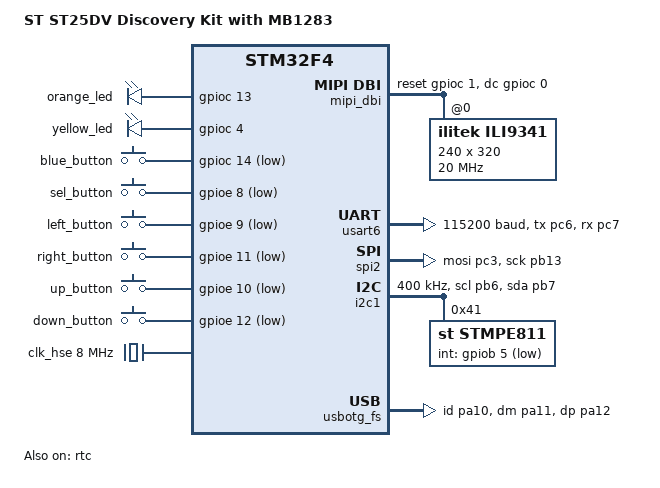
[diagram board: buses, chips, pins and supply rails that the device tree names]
/*
 * Copyright (c) 2024 Eve Redero
 *
 * SPDX-License-Identifier: Apache-2.0
 */

/dts-v1/;
#include "st/f4/stm32f405Xg.dtsi"
#include "st/f4/stm32f405vgtx-pinctrl.dtsi"
#include <zephyr/dt-bindings/input/input-event-codes.h>
#include <zephyr/dt-bindings/display/ili9xxx.h>

/ {
	model = "ST ST25DV Discovery Kit with MB1283";
	compatible = "st,st25dv_mb1283_disco", "st,stm32f405", "st,stm32f4";

	chosen {
		zephyr,console = &usart6;
		zephyr,shell-uart = &usart6;
		zephyr,sram = &sram0;
		zephyr,flash = &flash0;
		zephyr,display = &ili9341;
		zephyr,touch = &stmpe811;
	};

	leds {
		compatible = "gpio-leds";

		orange_led: led_1 {
			gpios = <&gpioc 13 GPIO_ACTIVE_HIGH>;
		};

		yellow_led: led_2 {
			gpios = <&gpioc 4 GPIO_ACTIVE_HIGH>;
		};
	};

	buttons: gpio_keys {
		compatible = "gpio-keys";

		blue_button: button_1 {
			gpios = <&gpioc 14 GPIO_ACTIVE_LOW>;
			zephyr,code = <INPUT_KEY_0>;
		};

		sel_button: button_2 {
			gpios = <&gpioe 8 GPIO_ACTIVE_LOW>;
			zephyr,code = <INPUT_KEY_ENTER>;
		};

		left_button: button_3 {
			gpios = <&gpioe 9 GPIO_ACTIVE_LOW>;
			zephyr,code = <INPUT_KEY_LEFT>;
		};

		right_button: button_4 {
			gpios = <&gpioe 11 GPIO_ACTIVE_LOW>;
			zephyr,code = <INPUT_KEY_RIGHT>;
		};

		up_button: button_5 {
			gpios = <&gpioe 10 GPIO_ACTIVE_LOW>;
			zephyr,code = <INPUT_KEY_UP>;
		};

		down_button: button_6 {
			gpios = <&gpioe 12 GPIO_ACTIVE_LOW>;
			zephyr,code = <INPUT_KEY_DOWN>;
		};
	};

	aliases {
		led0 = &orange_led;
		sw0 = &blue_button;
	};

	mipi_dbi {
		compatible = "zephyr,mipi-dbi-spi";
		reset-gpios = <&gpioc 1 GPIO_ACTIVE_HIGH>;
		dc-gpios = <&gpioc 0 GPIO_ACTIVE_HIGH>;
		spi-dev = <&spi2>;
		#address-cells = <1>;
		#size-cells = <0>;
		write-only;

		ili9341: ili9341@0 {
			compatible = "ilitek,ili9341";
			mipi-max-frequency = <DT_FREQ_M(20)>;
			reg = <0>;
			pixel-format = <ILI9XXX_PIXEL_FORMAT_RGB888>;
			rotation = <0>;
			width = <240>;
			height = <320>;
			duplex = <0x800>;
		};
	};
};

&clk_lsi {
	status = "okay";
};

&clk_hse {
	clock-frequency = <DT_FREQ_M(8)>;
	status = "okay";
};

&pll {
	div-m = <4>;
	mul-n = <168>;
	div-p = <2>;
	div-q = <7>;
	clocks = <&clk_hse>;
	status = "okay";
};

&rcc {
	clocks = <&pll>;
	clock-frequency = <DT_FREQ_M(168)>;
	ahb-prescaler = <1>;
	apb1-prescaler = <4>;
	apb2-prescaler = <2>;
};

&usart6 {
	pinctrl-0 = <&usart6_tx_pc6 &usart6_rx_pc7>;
	pinctrl-names = "default";
	current-speed = <115200>;
	status = "okay";
};

&rtc {
	clocks = <&rcc STM32_CLOCK(APB1, 28)>,
		 <&rcc STM32_SRC_LSI RTC_SEL(2)>;
	status = "okay";
};

&spi2 { /* Max 20 Mbit/s */
	#address-cells = <1>;
	#size-cells = <0>;
	pinctrl-0 = <&spi2_mosi_pc3 &spi2_sck_pb13>;
	cs-gpios = <&gpiob 12 (GPIO_ACTIVE_LOW | GPIO_PULL_UP)>;
	pinctrl-names = "default";
	status = "okay";
};

&i2c1 {
	pinctrl-0 = <&i2c1_scl_pb6 &i2c1_sda_pb7>;
	pinctrl-names = "default";
	status = "okay";
	clock-frequency = <I2C_BITRATE_FAST>;

	stmpe811: stmpe811@41 {
		compatible = "st,stmpe811";
		status = "okay";
		reg = <0x41>;
		int-gpios = <&gpiob 5 GPIO_ACTIVE_LOW>;
		screen-width = <240>;
		screen-height = <320>;
		inverted-y;
		raw-x-min = <240>;
		raw-y-min = <200>;
		raw-x-max = <3680>;
		raw-y-max = <3800>;
		panel-driver-settling-time-us = <1000>;
		touch-detect-delay-us = <5000>;
		touch-average-control = <8>;
		tracking-index = <127>;
	};
};

zephyr_udc0: &usbotg_fs {
	pinctrl-0 = <&usb_otg_fs_id_pa10 &usb_otg_fs_dm_pa11 &usb_otg_fs_dp_pa12>;
	pinctrl-names = "default";
	status = "okay";
};
